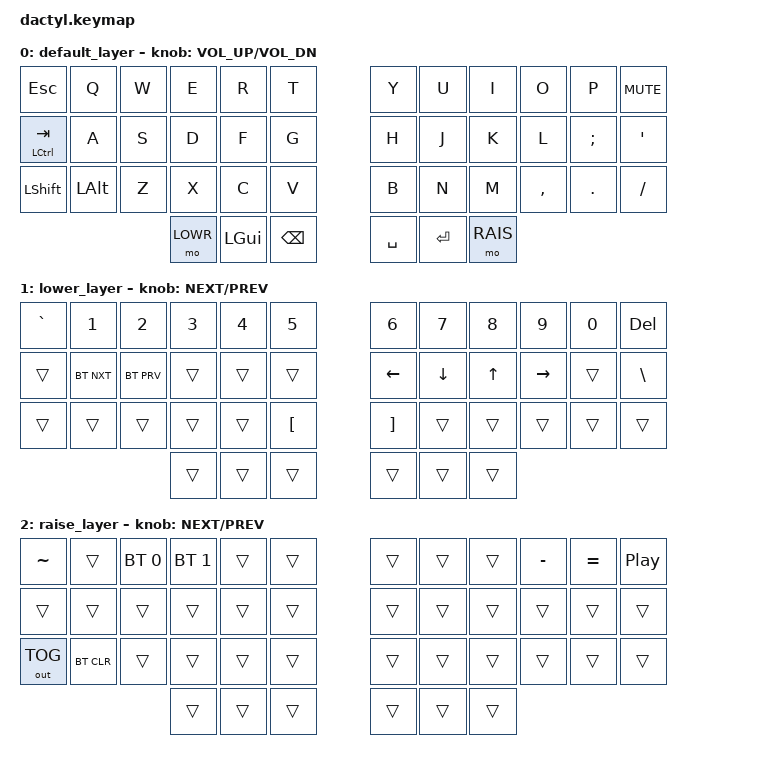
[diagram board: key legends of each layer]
#include <behaviors.dtsi>
#include <dt-bindings/zmk/keys.h>
#include <dt-bindings/zmk/bt.h>
#include <dt-bindings/zmk/outputs.h>

#define LOWR 1
#define RAIS 2

/ {
        keymap {
                compatible = "zmk,keymap";

                default_layer {
                        bindings = <
&kp ESC     &kp Q       &kp W       &kp E       &kp R       &kp T          &kp Y       &kp U       &kp I       &kp O       &kp P       &kp C_MUTE
&mt LCTRL TAB &kp A     &kp S       &kp D       &kp F       &kp G          &kp H       &kp J       &kp K       &kp L       &kp SEMI    &kp SQT
&kp LSHFT   &kp LALT    &kp Z       &kp X       &kp C       &kp V          &kp B       &kp N       &kp M       &kp COMMA   &kp DOT     &kp FSLH
                                    &mo LOWR    &kp LGUI    &kp BSPC       &kp SPACE   &kp RET     &mo RAIS
                        >;

                        sensor-bindings = <&inc_dec_kp C_VOL_UP C_VOL_DN>;
                };

                lower_layer {
                        bindings = <
&kp GRAVE   &kp N1      &kp N2      &kp N3      &kp N4      &kp N5         &kp N6      &kp N7      &kp N8      &kp N9      &kp N0      &kp DEL
&trans      &bt BT_NXT  &bt BT_PRV  &trans      &trans      &trans         &kp LEFT    &kp DOWN    &kp UP      &kp RIGHT   &trans      &kp BSLH
&trans      &trans      &trans      &trans      &trans      &kp LBKT       &kp RBKT    &trans      &trans      &trans      &trans      &trans
                                    &trans      &trans      &trans         &trans      &trans      &trans
                        >;
                        
                        sensor-bindings = <&inc_dec_kp C_NEXT C_PREV>;
                };

                raise_layer {
                        bindings = <
&kp TILDE   &trans    &bt BT_SEL 0 &bt BT_SEL 1 &trans      &trans         &trans      &trans      &trans      &kp MINUS   &kp EQUAL   &kp C_PP
&trans      &trans      &trans      &trans      &trans      &trans         &trans      &trans      &trans      &trans      &trans      &trans
&out OUT_TOG &bt BT_CLR &trans      &trans      &trans      &trans         &trans      &trans      &trans      &trans      &trans      &trans
                                    &trans      &trans      &trans         &trans      &trans      &trans
                        >;

                        sensor-bindings = <&inc_dec_kp C_NEXT C_PREV>;
                };
        };
};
